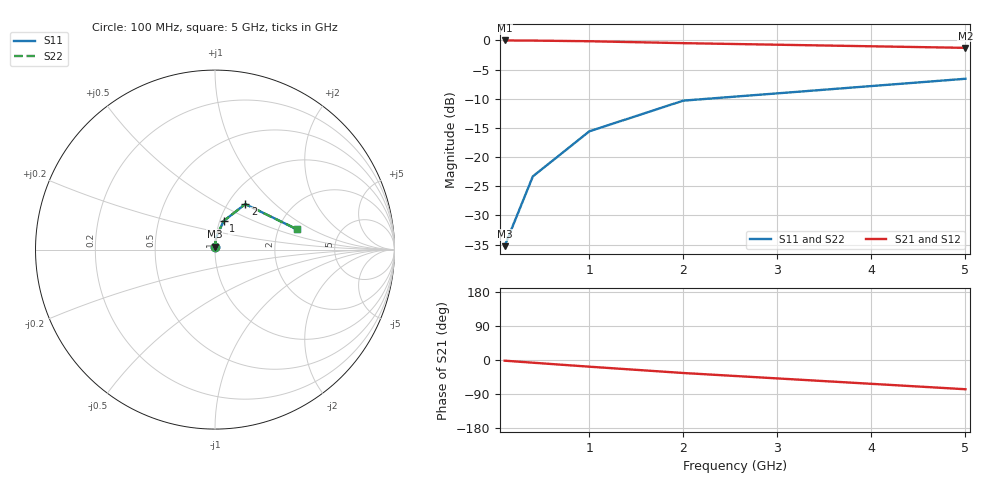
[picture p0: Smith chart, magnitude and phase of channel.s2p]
! Raw Palace field extraction; port order: U1.OUT, U2.IN
# Hz S RI R 50
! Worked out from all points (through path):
!   5 points, 100 MHz to 5 GHz, reference 50 ohm
!   highest |S21| = -0.02 dB at 100 MHz (marker M1); lowest = -1.3 dB at 5 GHz (marker M2)
!   lowest |S11| = -35.3 dB at 100 MHz (marker M3), VSWR 1.04, Z = 49.9 + j1.71 ohm
!   |S11| at or under -10 dB: start of sweep to 2.268 GHz
!   |S22| runs from -35.3 to -6.6 dB; largest |S21 - S12| = 4.6e-07
!   S11 on the Smith chart (normalised r, x): 100 MHz: 1.00, +0.03; 1 GHz: 1.04, +0.34; 2 GHz: 1.20, +0.67; 5 GHz: 2.51, +0.73
1e8  -0.00119 0.0172  0.9976 -0.031  0.9976 -0.031  -0.00119 0.0172
4e8  0.00641 0.0679  0.9878 -0.1234  0.9878 -0.1234  0.0064 0.0679
1e9  0.0478 0.1589  0.9366 -0.2979  0.9366 -0.2979  0.0478 0.1589
2e9  0.1686 0.2533  0.7818 -0.5334  0.7818 -0.5334  0.1685 0.2532
5e9  0.4544 0.114  0.1919 -0.8409  0.1919 -0.8409  0.4543 0.1142
